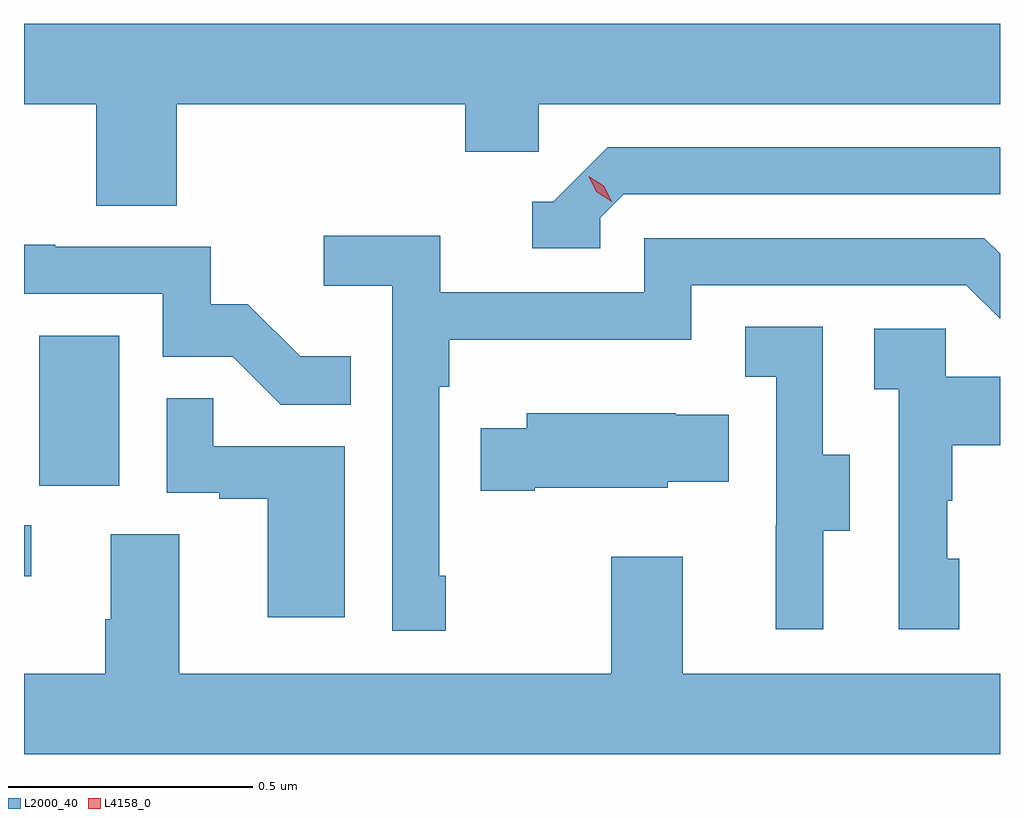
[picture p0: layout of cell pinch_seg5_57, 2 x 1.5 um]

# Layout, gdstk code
import gdstk
lib = gdstk.Library(unit=1e-6, precision=1e-09)
def R(c, l, rs):  # rectangles x0, y0, x1, y1
    for r in rs: c.add(gdstk.rectangle(r[:2], r[2:], *l))
def P(c, l, *ps):  # polygons
    for p in ps: c.add(gdstk.Polygon(p, *l))
L2000_40 = (2000, 40)
L4158_0 = (4158, 0)

pinch_seg5_57 = lib.new_cell('pinch_seg5_57')
R(pinch_seg5_57, L2000_40, [(1069.273,907.74,1069.288,907.845), (1069.304,907.926,1069.468,908.233)])
P(pinch_seg5_57, L2000_40, [(1069.586,908.708),(1070.177,908.708),(1070.177,908.61),(1070.328,908.61),(1070.328,908.708),(1071.273,908.708),(1071.273,908.872),(1069.273,908.872),(1069.273,908.708),(1069.421,908.708),(1069.421,908.5),(1069.586,908.5)],
  [(1070.454,908.475),(1070.502,908.523),(1071.273,908.523),(1071.273,908.619),(1070.469,908.619),(1070.358,908.508),(1070.315,908.508),(1070.315,908.412),(1070.454,908.412)],
  [(1070.137,907.741),(1070.124,907.741),(1070.124,908.129),(1070.144,908.129),(1070.144,908.225),(1070.64,908.225),(1070.64,908.337),(1071.204,908.337),(1071.273,908.268),(1071.273,908.401),(1071.241,908.433),(1070.544,908.433),(1070.544,908.322),(1070.126,908.322),(1070.126,908.438),(1069.887,908.438),(1069.887,908.336),(1070.028,908.336),(1070.028,907.629),(1070.137,907.629)],
  [(1069.943,908.191),(1069.839,908.191),(1069.732,908.298),(1069.656,908.298),(1069.656,908.415),(1069.337,908.415),(1069.337,908.42),(1069.273,908.42),(1069.273,908.319),(1069.557,908.319),(1069.557,908.19),(1069.701,908.19),(1069.799,908.092),(1069.943,908.092)],
  [(1070.911,907.834),(1070.965,907.834),(1070.965,907.989),(1070.91,907.989),(1070.91,908.252),(1070.751,908.252),(1070.751,908.149),(1070.814,908.149),(1070.814,907.845),(1070.813,907.845),(1070.813,907.632),(1070.911,907.632)],
  [(1071.19,907.776),(1071.165,907.776),(1071.165,907.895),(1071.175,907.895),(1071.175,908.009),(1071.273,908.009),(1071.273,908.149),(1071.162,908.149),(1071.162,908.247),(1071.015,908.247),(1071.015,908.123),(1071.066,908.123),(1071.066,907.632),(1071.19,907.632)],
  [(1069.93,908.007),(1069.661,908.007),(1069.661,908.105),(1069.566,908.105),(1069.566,907.911),(1069.673,907.911),(1069.673,907.899),(1069.772,907.899),(1069.772,907.656),(1069.93,907.656)],
  [(1070.32,907.922),(1070.592,907.922),(1070.592,907.934),(1070.717,907.934),(1070.717,908.071),(1070.609,908.071),(1070.609,908.074),(1070.303,908.074),(1070.303,908.044),(1070.209,908.044),(1070.209,907.915),(1070.32,907.915)],
  [(1071.273,907.54),(1070.623,907.54),(1070.623,907.78),(1070.476,907.78),(1070.476,907.54),(1069.591,907.54),(1069.591,907.826),(1069.451,907.826),(1069.451,907.652),(1069.439,907.652),(1069.439,907.54),(1069.273,907.54),(1069.273,907.376),(1071.273,907.376)])
P(pinch_seg5_57, L4158_0, [(1070.477,908.508),(1070.446,908.528),(1070.43,908.56),(1070.43,908.56),(1070.43,908.56),(1070.461,908.541),(1070.477,908.509),(1070.477,908.508)])

lib.write_gds('pinch_seg5_57.gds')
